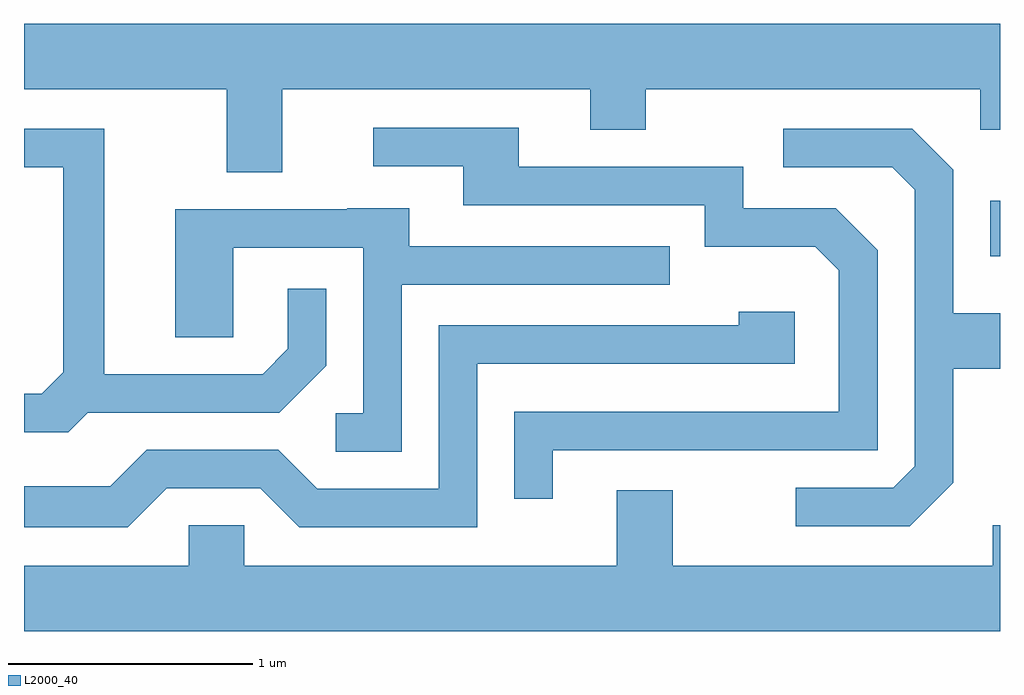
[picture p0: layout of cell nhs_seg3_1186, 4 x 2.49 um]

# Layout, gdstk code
import gdstk
lib = gdstk.Library(unit=1e-6, precision=1e-09)
def R(c, l, rs):  # rectangles x0, y0, x1, y1
    for r in rs: c.add(gdstk.rectangle(r[:2], r[2:], *l))
def P(c, l, *ps):  # polygons
    for p in ps: c.add(gdstk.Polygon(p, *l))
L2000_40 = (2000, 40)

nhs_seg3_1186 = lib.new_cell('nhs_seg3_1186')
R(nhs_seg3_1186, L2000_40, [(223.571,1178.611,223.611,1178.839)])
P(nhs_seg3_1186, L2000_40, [(220.669,1179.296),(221.931,1179.296),(221.931,1179.131),(222.159,1179.131),(222.159,1179.296),(223.531,1179.296),(223.531,1179.131),(223.611,1179.131),(223.611,1179.564),(219.611,1179.564),(219.611,1179.296),(220.441,1179.296),(220.441,1178.956),(220.669,1178.956)],
  [(221.779,1177.816),(223.109,1177.816),(223.109,1178.637),(222.937,1178.809),(222.559,1178.809),(222.559,1178.979),(221.639,1178.979),(221.639,1179.139),(221.043,1179.139),(221.043,1178.981),(221.411,1178.981),(221.411,1178.821),(222.401,1178.821),(222.401,1178.651),(222.854,1178.651),(222.951,1178.554),(222.951,1177.974),(221.621,1177.974),(221.621,1177.618),(221.779,1177.618)],
  [(219.872,1177.971),(220.657,1177.971),(220.849,1178.164),(220.849,1178.478),(220.691,1178.478),(220.691,1178.232),(220.589,1178.129),(219.939,1178.129),(219.939,1179.134),(219.611,1179.134),(219.611,1178.976),(219.771,1178.976),(219.771,1178.137),(219.684,1178.049),(219.611,1178.049),(219.611,1177.891),(219.792,1177.891)],
  [(223.419,1177.684),(223.419,1178.151),(223.611,1178.151),(223.611,1178.379),(223.419,1178.379),(223.419,1178.967),(223.252,1179.134),(222.723,1179.134),(222.723,1178.976),(223.169,1178.976),(223.261,1178.884),(223.261,1177.752),(223.174,1177.664),(222.773,1177.664),(222.773,1177.506),(223.242,1177.506)],
  [(221.159,1178.496),(222.258,1178.496),(222.258,1178.654),(221.189,1178.654),(221.189,1178.809),(220.935,1178.809),(220.935,1178.804),(220.231,1178.804),(220.231,1178.281),(220.469,1178.281),(220.469,1178.646),(221.001,1178.646),(221.001,1177.969),(220.888,1177.969),(220.888,1177.811),(221.159,1177.811)],
  [(220.197,1177.661),(220.579,1177.661),(220.739,1177.501),(221.469,1177.501),(221.469,1178.171),(222.769,1178.171),(222.769,1178.384),(222.541,1178.384),(222.541,1178.329),(221.311,1178.329),(221.311,1177.659),(220.812,1177.659),(220.652,1177.819),(220.114,1177.819),(219.964,1177.669),(219.611,1177.669),(219.611,1177.501),(220.037,1177.501)],
  [(223.611,1177.509),(223.581,1177.509),(223.581,1177.344),(222.269,1177.344),(222.269,1177.654),(222.041,1177.654),(222.041,1177.344),(220.514,1177.344),(220.514,1177.509),(220.286,1177.509),(220.286,1177.344),(219.611,1177.344),(219.611,1177.076),(223.611,1177.076)])

lib.write_gds('nhs_seg3_1186.gds')
